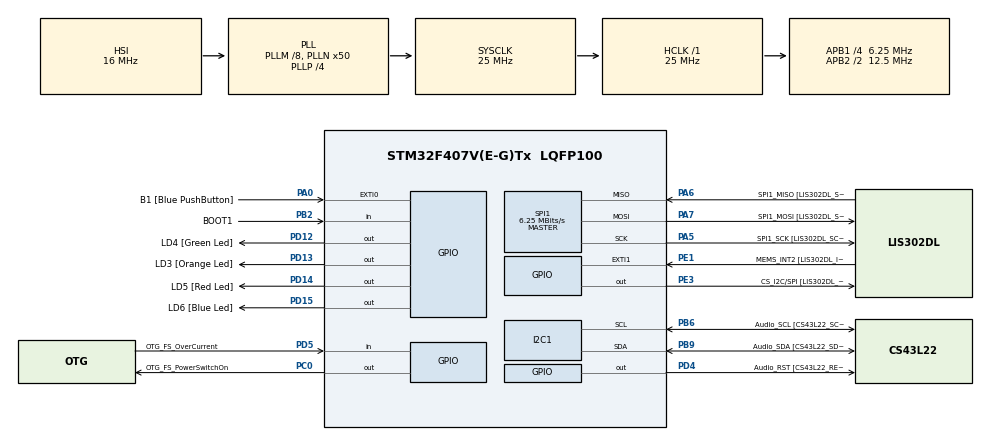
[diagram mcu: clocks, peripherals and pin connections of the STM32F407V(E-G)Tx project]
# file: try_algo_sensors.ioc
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Dma.Request0=SPI1_RX
Dma.Request1=SPI1_TX
Dma.SPI1_RX.0.Direction=DMA_PERIPH_TO_MEMORY
Dma.SPI1_RX.0.FIFOMode=DMA_FIFOMODE_DISABLE
Dma.SPI1_RX.0.Instance=DMA2_Stream0
Dma.SPI1_RX.0.MemDataAlignment=DMA_MDATAALIGN_BYTE
Dma.SPI1_RX.0.MemInc=DMA_MINC_ENABLE
Dma.SPI1_RX.0.Mode=DMA_NORMAL
Dma.SPI1_RX.0.PeriphDataAlignment=DMA_PDATAALIGN_BYTE
Dma.SPI1_RX.0.PeriphInc=DMA_PINC_DISABLE
Dma.SPI1_RX.0.Priority=DMA_PRIORITY_LOW
Dma.SPI1_TX.1.Direction=DMA_MEMORY_TO_PERIPH
Dma.SPI1_TX.1.FIFOMode=DMA_FIFOMODE_DISABLE
Dma.SPI1_TX.1.Instance=DMA2_Stream3
Dma.SPI1_TX.1.MemDataAlignment=DMA_MDATAALIGN_BYTE
Dma.SPI1_TX.1.MemInc=DMA_MINC_ENABLE
Dma.SPI1_TX.1.Mode=DMA_NORMAL
Dma.SPI1_TX.1.PeriphDataAlignment=DMA_PDATAALIGN_BYTE
Dma.SPI1_TX.1.PeriphInc=DMA_PINC_DISABLE
Dma.SPI1_TX.1.Priority=DMA_PRIORITY_LOW
Mcu.Family=STM32F4
Mcu.Name=STM32F407V(E-G)Tx
Mcu.Package=LQFP100
NVIC.DMA2_Stream0_IRQn=true\:0\:0\:false\:false\:true\:false\:true\:true
NVIC.DMA2_Stream3_IRQn=true\:0\:0\:false\:false\:true\:false\:true\:true
NVIC.PriorityGroup=NVIC_PRIORITYGROUP_0
PA0-WKUP.GPIO_Label=B1 [Blue PushButton]
PA0-WKUP.Signal=GPXTI0
PA10.GPIO_Label=OTG_FS_ID
PA10.GPIO_Mode=GPIO_MODE_AF_PP
PA10.GPIO_PuPd=GPIO_NOPULL
PA10.GPIO_Speed=GPIO_SPEED_FREQ_LOW
PA10.Signal=USB_OTG_FS_ID
PA11.GPIO_Label=OTG_FS_DM
PA11.GPIO_Mode=GPIO_MODE_AF_PP
PA11.GPIO_PuPd=GPIO_NOPULL
PA11.GPIO_Speed=GPIO_SPEED_FREQ_LOW
PA11.Signal=USB_OTG_FS_DM
PA12.GPIO_Label=OTG_FS_DP
PA12.GPIO_Mode=GPIO_MODE_AF_PP
PA12.GPIO_PuPd=GPIO_NOPULL
PA12.GPIO_Speed=GPIO_SPEED_FREQ_LOW
PA12.Signal=USB_OTG_FS_DP
PA13.GPIO_Label=SWDIO
PA13.Mode=Trace_Asynchronous_SW
PA13.Signal=SYS_JTMS-SWDIO
PA14.GPIO_Label=SWCLK
PA14.Mode=Trace_Asynchronous_SW
PA14.Signal=SYS_JTCK-SWCLK
PA4.GPIO_Label=I2S3_WS [CS43L22_LRCK]
PA4.GPIO_Mode=GPIO_MODE_AF_PP
PA4.GPIO_PuPd=GPIO_NOPULL
PA4.GPIO_Speed=GPIO_SPEED_FREQ_LOW
PA4.Signal=I2S3_WS
PA5.GPIO_Label=SPI1_SCK [LIS302DL_SCL/SPC]
PA5.GPIO_Mode=GPIO_MODE_AF_PP
PA5.GPIO_PuPd=GPIO_NOPULL
PA5.GPIO_Speed=GPIO_SPEED_FREQ_LOW
PA5.Mode=Full_Duplex_Master
PA5.Signal=SPI1_SCK
PA6.GPIO_Label=SPI1_MISO [LIS302DL_SDO]
PA6.GPIO_Mode=GPIO_MODE_AF_PP
PA6.GPIO_PuPd=GPIO_NOPULL
PA6.GPIO_Speed=GPIO_SPEED_FREQ_LOW
PA6.Mode=Full_Duplex_Master
PA6.Signal=SPI1_MISO
PA7.GPIO_Label=SPI1_MOSI [LIS302DL_SDA/SDI/SDO]
PA7.GPIO_Mode=GPIO_MODE_AF_PP
PA7.GPIO_PuPd=GPIO_NOPULL
PA7.GPIO_Speed=GPIO_SPEED_FREQ_LOW
PA7.Mode=Full_Duplex_Master
PA7.Signal=SPI1_MOSI
PA9.GPIO_Label=VBUS_FS
PA9.GPIO_Mode=GPIO_MODE_INPUT
PA9.GPIO_PuPd=GPIO_NOPULL
PA9.Signal=USB_OTG_FS_VBUS
PB10.GPIO_Label=CLK_IN [MP45DT02_CLK]
PB10.GPIO_Mode=GPIO_MODE_AF_PP
PB10.GPIO_PuPd=GPIO_NOPULL
PB10.GPIO_Speed=GPIO_SPEED_FREQ_LOW
PB10.Signal=I2S2_CK
PB2.GPIO_Label=BOOT1
PB2.GPIO_Mode=GPIO_MODE_INPUT
PB2.GPIO_PuPd=GPIO_NOPULL
PB2.Signal=GPIO_Input
PB3.GPIO_Label=SWO
PB3.Mode=Trace_Asynchronous_SW
PB3.Signal=SYS_JTDO-SWO
PB6.GPIO_Label=Audio_SCL [CS43L22_SCL]
PB6.GPIO_Mode=GPIO_MODE_AF_OD
PB6.GPIO_PuPd=GPIO_NOPULL
PB6.GPIO_Speed=GPIO_SPEED_FREQ_LOW
PB6.Mode=I2C
PB6.Signal=I2C1_SCL
PB9.GPIO_Label=Audio_SDA [CS43L22_SDA]
PB9.GPIO_Mode=GPIO_MODE_AF_OD
PB9.GPIO_PuPd=GPIO_NOPULL
PB9.GPIO_Speed=GPIO_SPEED_FREQ_LOW
PB9.Mode=I2C
PB9.Signal=I2C1_SDA
PC0.GPIO_Label=OTG_FS_PowerSwitchOn
PC0.GPIO_PuPd=GPIO_NOPULL
PC0.GPIO_Speed=GPIO_SPEED_FREQ_LOW
PC0.PinState=GPIO_PIN_SET
PC0.Signal=GPIO_Output
PC10.GPIO_Label=I2S3_SCK [CS43L22_SCLK]
PC10.GPIO_Mode=GPIO_MODE_AF_PP
PC10.GPIO_PuPd=GPIO_NOPULL
PC10.GPIO_Speed=GPIO_SPEED_FREQ_LOW
PC10.Signal=I2S3_CK
PC12.GPIO_Label=I2S3_SD [CS43L22_SDIN]
PC12.GPIO_Mode=GPIO_MODE_AF_PP
PC12.GPIO_PuPd=GPIO_NOPULL
PC12.GPIO_Speed=GPIO_SPEED_FREQ_LOW
PC12.Signal=I2S3_SD
PC14-OSC32_IN.GPIO_Label=PC14-OSC32_IN
PC14-OSC32_IN.Signal=RCC_OSC32_IN
PC15-OSC32_OUT.GPIO_Label=PC15-OSC32_OUT
PC15-OSC32_OUT.Signal=RCC_OSC32_OUT
PC3.GPIO_Label=PDM_OUT [MP45DT02_DOUT]
PC3.GPIO_Mode=GPIO_MODE_AF_PP
PC3.GPIO_PuPd=GPIO_NOPULL
PC3.GPIO_Speed=GPIO_SPEED_FREQ_LOW
PC3.Signal=I2S2_SD
PC7.GPIO_Label=I2S3_MCK [CS43L22_MCLK]
PC7.GPIO_Mode=GPIO_MODE_AF_PP
PC7.GPIO_PuPd=GPIO_NOPULL
PC7.GPIO_Speed=GPIO_SPEED_FREQ_LOW
PC7.Signal=I2S3_MCK
PD12.GPIO_Label=LD4 [Green Led]
PD12.GPIO_PuPd=GPIO_NOPULL
PD12.GPIO_Speed=GPIO_SPEED_FREQ_LOW
PD12.Signal=GPIO_Output
PD13.GPIO_Label=LD3 [Orange Led]
PD13.GPIO_PuPd=GPIO_NOPULL
PD13.GPIO_Speed=GPIO_SPEED_FREQ_LOW
PD13.Signal=GPIO_Output
PD14.GPIO_Label=LD5 [Red Led]
PD14.GPIO_PuPd=GPIO_NOPULL
PD14.GPIO_Speed=GPIO_SPEED_FREQ_LOW
PD14.Signal=GPIO_Output
PD15.GPIO_Label=LD6 [Blue Led]
PD15.GPIO_PuPd=GPIO_NOPULL
PD15.GPIO_Speed=GPIO_SPEED_FREQ_LOW
PD15.Signal=GPIO_Output
PD4.GPIO_Label=Audio_RST [CS43L22_RESET]
PD4.GPIO_PuPd=GPIO_NOPULL
PD4.GPIO_Speed=GPIO_SPEED_FREQ_LOW
PD4.Signal=GPIO_Output
PD5.GPIO_Label=OTG_FS_OverCurrent
PD5.GPIO_Mode=GPIO_MODE_INPUT
PD5.GPIO_PuPd=GPIO_NOPULL
PD5.Signal=GPIO_Input
PE1.GPIO_Label=MEMS_INT2 [LIS302DL_INT2]
PE1.GPIO_ModeDefaultEXTI=GPIO_MODE_EVT_RISING
PE1.GPIO_PuPd=GPIO_NOPULL
PE1.Signal=GPXTI1
PE3.GPIO_Label=CS_I2C/SPI [LIS302DL_CS_I2C/SPI]
PE3.GPIO_PuPd=GPIO_NOPULL
PE3.GPIO_Speed=GPIO_SPEED_FREQ_LOW
PE3.Signal=GPIO_Output
PH0-OSC_IN.GPIO_Label=PH0-OSC_IN
PH0-OSC_IN.Signal=RCC_OSC_IN
PH1-OSC_OUT.GPIO_Label=PH1-OSC_OUT
PH1-OSC_OUT.Signal=RCC_OSC_OUT
ProjectManager.HeapSize=0x200
ProjectManager.StackSize=0x400
ProjectManager.TargetToolchain=STM32CubeIDE
RCC.48MHZClocksFreq_Value=14285714.285714285
RCC.AHBFreq_Value=25000000
RCC.APB1CLKDivider=RCC_HCLK_DIV4
RCC.APB1Freq_Value=6250000
RCC.APB1TimFreq_Value=12500000
RCC.APB2CLKDivider=RCC_HCLK_DIV2
RCC.APB2Freq_Value=12500000
RCC.APB2TimFreq_Value=25000000
RCC.CortexFreq_Value=25000000
RCC.HCLKFreq_Value=25000000
RCC.HSE_VALUE=8000000
RCC.HSI_VALUE=16000000
RCC.LSE_VALUE=32768
RCC.PLLM=8
RCC.PLLN=50
RCC.PLLP=RCC_PLLP_DIV4
RCC.PLLQ=7
RCC.SYSCLKFreq_VALUE=25000000
RCC.SYSCLKSource=RCC_SYSCLKSOURCE_PLLCLK
RCC.VCOOutputFreq_Value=100000000
SPI1.BaudRatePrescaler=SPI_BAUDRATEPRESCALER_2
SPI1.CLKPolarity=SPI_POLARITY_LOW
SPI1.CalculateBaudRate=6.25 MBits/s
SPI1.Direction=SPI_DIRECTION_2LINES
SPI1.Mode=SPI_MODE_MASTER
SPI1.VirtualType=VM_MASTER
board=STM32F407G-DISC1

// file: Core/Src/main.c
/* USER CODE BEGIN Header */
/**
  ******************************************************************************
  * @file           : main.c
  * @brief          : Main program body
  ******************************************************************************
  * @attention
  *
  * Copyright (c) 2026 STMicroelectronics.
  * All rights reserved.
  *
  * This software is licensed under terms that can be found in the LICENSE file
  * in the root directory of this software component.
  * If no LICENSE file comes with this software, it is provided AS-IS.
  *
  ******************************************************************************
  */
/* USER CODE END Header */
#include "main.h"

/* USER CODE BEGIN Includes */
#include "BME280.h"
#include "math.h"
#include "kalman.h"
#include "bno055_func_struct.h"
/* USER CODE END Includes */

I2C_HandleTypeDef hi2c1;

SPI_HandleTypeDef hspi1;
DMA_HandleTypeDef hdma_spi1_rx;
DMA_HandleTypeDef hdma_spi1_tx;

/* USER CODE BEGIN PV */
BME_Data_t bme_data;
volatile float		height;
volatile float filtered_altitude;
volatile BNO055_AccelData_t accel;
volatile BNO055_GyroData_t gyro;
volatile BNO055_EulerData_t euler;

/* USER CODE END PV */

void SystemClock_Config(void);
static void MX_GPIO_Init(void);
static void MX_DMA_Init(void);
static void MX_SPI1_Init(void);
static void MX_I2C1_Init(void);

/* USER CODE BEGIN 0 */
BNO055Init_TypeDef_t BNO = {
         // --- HABERLEŞME (I2C) ---
         .i2cHandler = &hi2c1,             // Hangi I2C hattını kullanıyorsan
         .i2cAddress = (0x28 << 1),        // DİKKAT: STM32 HAL kütüphanesi adresi 1 bit sola kaydırılmış ister! (0x28 veya 0x29)
         .i2cTimeout = 100,
         .delayCallback = HAL_Delay,       // Senin init fonksiyonundaki BNO_Delay için standart STM32 gecikmesi

         // --- GÜÇ VE ÇALIŞMA MODLARI ---
         .powerMode = BNO_PWR_MODE_NORMAL,

         // KENDİ FÜZYONUMUZU YAPACAĞIMIZ İÇİN ÇOK KRİTİK:
         // Sadece İvme ve Gyro verisi üreten, Bosch füzyonunun kapalı olduğu mod (ACCGYRO veya AMG modu)
         .operationMode = BNO_MODE_ACCGYRO,

         .externalCrystal = BNO_CLK_EXTERNAL, // Füzyon stabilitesi için dış kristal şart (Modülünde kristal varsa)

         // --- EKSEN YÖNLENDİRMESİ (Roket/Kart Dik mi Yatay mı?) ---
         .axisRemap = BNO_AXIS_REMAP_P1,        // P1 genelde standart yatay yerleşimdir. Kartın duruşuna göre P0-P7 arası seçilir.

         // --- BİRİM SEÇİMLERİ (Kalman/Madgwick matematiği ile uyumlu olmalı) ---
         .accelUnit =  BNO_ACC_UNIT_MS2 ,       // İvme: Metre/saniye kare (SI birimi)
         .gyroUnit  = BNO_GYRO_UNIT_RPS  ,     // Cayro: Radyan/Saniye (Madgwick trigonometri hesaplarında radyan sever!)
         .eulerUnit = BNO_EULER_UNIT_DEG,       // Euler: Derece (Ekrana basıp okumak kolay olsun diye)
         .tempUnit  = BNO_TEMP_UNIT_C,          // Sıcaklık: Santigrat

         // --- KALİBRASYON ---
         .useStoredCalibration = 0,        // Şimdilik 0. Uçuş öncesi kalibre edip 1 yapacağız.
         // .calibrationData = bno_calib_array  // (Struct'ında array doğrudan tanımlıysa bu satıra gerek yok)
     };
/* USER CODE END 0 */

int main(void)
{

  /* MCU Configuration--------------------------------------------------------*/

  /* Reset of all peripherals, Initializes the Flash interface and the Systick. */
  HAL_Init();

  /* Configure the system clock */
  SystemClock_Config();

  /* Initialize all configured peripherals */
  MX_GPIO_Init();
  MX_DMA_Init();
  MX_SPI1_Init();
  MX_I2C1_Init();
  /* USER CODE BEGIN 2 */
  BME_Init_Typedef_t BME = {
      .spihandler  = &hspi1,      // Hangi SPI hattını kullanıyorsan onun adresini ver
      .BME_Delay   = HAL_Delay,   // STM32'nin standart milisaniye bekleme fonksiyonu

      .hum_osr     = OSR_1,        // Nem x1 (1 çarpanlı)
      .tmp_osr     = OSR_2,        // Sıcaklık x2
      .press_osr   = OSR_16,        // Basınç x16 (En yüksek hassasiyet)

      // Config Ayarları
      .coefficient = SIXTEEN,        // IIR Filtre Katsayısı 16 (Rüzgar/kapı çarpması gibi ani basınçları filtreler)
      .st_duration = mszeropointfive
  };
// Standby Süresi 0.5 ms (Ölçümler arası bekleme)

  HAL_StatusTypeDef status;
  status = InitBME_SPI(&BME);

  // 1. ZEMİN BASINCINI HESAPLA (Kalibrasyon)
    float ground_pressure = 0.0f;
    for(int i = 0; i < 50; i++) {
        bme_data = BME_DataRead(&BME);
        ground_pressure += bme_data.pressure;
        HAL_Delay(20);
    }
    ground_pressure /= 50.0f;
    Kalman1D_t alt_kf;
    // Başlangıç irtifası: 0, Hata P: 1.0, Q: 0.02 (Model güveni), R: 2.0 (Sensör gürültüsü)
    Kalman1D_Init(&alt_kf, 0.0f, 1.0f, 0.02f, 2.0f);

    /* USER CODE BEGIN 2 */

      // BNO055 Kalibrasyon verisi (Şimdilik boş, laboratuvarda kalibre edip buraya gireceğiz)
      uint8_t bno_calib_array[22] = {0};

      // Sistemi Başlat
      BNO_Status_t bno_status = BNO055_Init(&BNO);

      if (bno_status != BNO_OK) {
          // Sensör başlatılamadı, LED yak veya sistemi güvenli moda al
          Error_Handler();
      }

  /* USER CODE END 2 */

  /* Infinite loop */
  /* USER CODE BEGIN WHILE */
  while (1)
  {

	 bme_data = BME_DataRead(&BME);
	 height = (float)(44330.0f * (1.0f - powf((bme_data.pressure / ground_pressure), 0.1903f)));
	 filtered_altitude = Kalman1D_Update(&alt_kf, height);

	 BNO055_ReadAccel(&BNO , &accel);
	 BNO055_ReadGyro(&BNO , &gyro);

    /* USER CODE END WHILE */

  }
}

void SystemClock_Config(void)
{
  RCC_OscInitTypeDef RCC_OscInitStruct = {0};
  RCC_ClkInitTypeDef RCC_ClkInitStruct = {0};

  /** Configure the main internal regulator output voltage
  */
  __HAL_RCC_PWR_CLK_ENABLE();
  __HAL_PWR_VOLTAGESCALING_CONFIG(PWR_REGULATOR_VOLTAGE_SCALE1);

  /** Initializes the RCC Oscillators according to the specified parameters
  * in the RCC_OscInitTypeDef structure.
  */
  RCC_OscInitStruct.OscillatorType = RCC_OSCILLATORTYPE_HSI;
  RCC_OscInitStruct.HSIState = RCC_HSI_ON;
  RCC_OscInitStruct.HSICalibrationValue = RCC_HSICALIBRATION_DEFAULT;
  RCC_OscInitStruct.PLL.PLLState = RCC_PLL_ON;
  RCC_OscInitStruct.PLL.PLLSource = RCC_PLLSOURCE_HSI;
  RCC_OscInitStruct.PLL.PLLM = 8;
  RCC_OscInitStruct.PLL.PLLN = 50;
  RCC_OscInitStruct.PLL.PLLP = RCC_PLLP_DIV4;
  RCC_OscInitStruct.PLL.PLLQ = 7;
  if (HAL_RCC_OscConfig(&RCC_OscInitStruct) != HAL_OK)
  {
    Error_Handler();
  }

  /** Initializes the CPU, AHB and APB buses clocks
  */
  RCC_ClkInitStruct.ClockType = RCC_CLOCKTYPE_HCLK|RCC_CLOCKTYPE_SYSCLK
                              |RCC_CLOCKTYPE_PCLK1|RCC_CLOCKTYPE_PCLK2;
  RCC_ClkInitStruct.SYSCLKSource = RCC_SYSCLKSOURCE_PLLCLK;
  RCC_ClkInitStruct.AHBCLKDivider = RCC_SYSCLK_DIV1;
  RCC_ClkInitStruct.APB1CLKDivider = RCC_HCLK_DIV4;
  RCC_ClkInitStruct.APB2CLKDivider = RCC_HCLK_DIV2;

  if (HAL_RCC_ClockConfig(&RCC_ClkInitStruct, FLASH_LATENCY_0) != HAL_OK)
  {
    Error_Handler();
  }
}

static void MX_I2C1_Init(void)
{

  hi2c1.Instance = I2C1;
  hi2c1.Init.ClockSpeed = 100000;
  hi2c1.Init.DutyCycle = I2C_DUTYCYCLE_2;
  hi2c1.Init.OwnAddress1 = 0;
  hi2c1.Init.AddressingMode = I2C_ADDRESSINGMODE_7BIT;
  hi2c1.Init.DualAddressMode = I2C_DUALADDRESS_DISABLE;
  hi2c1.Init.OwnAddress2 = 0;
  hi2c1.Init.GeneralCallMode = I2C_GENERALCALL_DISABLE;
  hi2c1.Init.NoStretchMode = I2C_NOSTRETCH_DISABLE;
  if (HAL_I2C_Init(&hi2c1) != HAL_OK)
  {
    Error_Handler();
  }

}

static void MX_SPI1_Init(void)
{

  /* SPI1 parameter configuration*/
  hspi1.Instance = SPI1;
  hspi1.Init.Mode = SPI_MODE_MASTER;
  hspi1.Init.Direction = SPI_DIRECTION_2LINES;
  hspi1.Init.DataSize = SPI_DATASIZE_8BIT;
  hspi1.Init.CLKPolarity = SPI_POLARITY_LOW;
  hspi1.Init.CLKPhase = SPI_PHASE_1EDGE;
  hspi1.Init.NSS = SPI_NSS_SOFT;
  hspi1.Init.BaudRatePrescaler = SPI_BAUDRATEPRESCALER_2;
  hspi1.Init.FirstBit = SPI_FIRSTBIT_MSB;
  hspi1.Init.TIMode = SPI_TIMODE_DISABLE;
  hspi1.Init.CRCCalculation = SPI_CRCCALCULATION_DISABLE;
  hspi1.Init.CRCPolynomial = 10;
  if (HAL_SPI_Init(&hspi1) != HAL_OK)
  {
    Error_Handler();
  }

}

static void MX_DMA_Init(void)
{

  /* DMA controller clock enable */
  __HAL_RCC_DMA2_CLK_ENABLE();

  /* DMA interrupt init */
  /* DMA2_Stream0_IRQn interrupt configuration */
  HAL_NVIC_SetPriority(DMA2_Stream0_IRQn, 0, 0);
  HAL_NVIC_EnableIRQ(DMA2_Stream0_IRQn);
  /* DMA2_Stream3_IRQn interrupt configuration */
  HAL_NVIC_SetPriority(DMA2_Stream3_IRQn, 0, 0);
  HAL_NVIC_EnableIRQ(DMA2_Stream3_IRQn);

}

static void MX_GPIO_Init(void)
{
  GPIO_InitTypeDef GPIO_InitStruct = {0};

  /* GPIO Ports Clock Enable */
  __HAL_RCC_GPIOE_CLK_ENABLE();
  __HAL_RCC_GPIOC_CLK_ENABLE();
  __HAL_RCC_GPIOH_CLK_ENABLE();
  __HAL_RCC_GPIOA_CLK_ENABLE();
  __HAL_RCC_GPIOB_CLK_ENABLE();
  __HAL_RCC_GPIOD_CLK_ENABLE();

  /*Configure GPIO pin Output Level */
  HAL_GPIO_WritePin(CS_I2C_SPI_GPIO_Port, CS_I2C_SPI_Pin, GPIO_PIN_RESET);

  /*Configure GPIO pin Output Level */
  HAL_GPIO_WritePin(OTG_FS_PowerSwitchOn_GPIO_Port, OTG_FS_PowerSwitchOn_Pin, GPIO_PIN_SET);

  /*Configure GPIO pin Output Level */
  HAL_GPIO_WritePin(GPIOD, LD4_Pin|LD3_Pin|LD5_Pin|LD6_Pin
                          |Audio_RST_Pin, GPIO_PIN_RESET);

  /*Configure GPIO pin : CS_I2C_SPI_Pin */
  GPIO_InitStruct.Pin = CS_I2C_SPI_Pin;
  GPIO_InitStruct.Mode = GPIO_MODE_OUTPUT_PP;
  GPIO_InitStruct.Pull = GPIO_NOPULL;
  GPIO_InitStruct.Speed = GPIO_SPEED_FREQ_LOW;
  HAL_GPIO_Init(CS_I2C_SPI_GPIO_Port, &GPIO_InitStruct);

  /*Configure GPIO pin : OTG_FS_PowerSwitchOn_Pin */
  GPIO_InitStruct.Pin = OTG_FS_PowerSwitchOn_Pin;
  GPIO_InitStruct.Mode = GPIO_MODE_OUTPUT_PP;
  GPIO_InitStruct.Pull = GPIO_NOPULL;
  GPIO_InitStruct.Speed = GPIO_SPEED_FREQ_LOW;
  HAL_GPIO_Init(OTG_FS_PowerSwitchOn_GPIO_Port, &GPIO_InitStruct);

  /*Configure GPIO pin : PDM_OUT_Pin */
  GPIO_InitStruct.Pin = PDM_OUT_Pin;
  GPIO_InitStruct.Mode = GPIO_MODE_AF_PP;
  GPIO_InitStruct.Pull = GPIO_NOPULL;
  GPIO_InitStruct.Speed = GPIO_SPEED_FREQ_LOW;
  GPIO_InitStruct.Alternate = GPIO_AF5_SPI2;
  HAL_GPIO_Init(PDM_OUT_GPIO_Port, &GPIO_InitStruct);

  /*Configure GPIO pin : B1_Pin */
  GPIO_InitStruct.Pin = B1_Pin;
  GPIO_InitStruct.Mode = GPIO_MODE_IT_RISING;
  GPIO_InitStruct.Pull = GPIO_NOPULL;
  HAL_GPIO_Init(B1_GPIO_Port, &GPIO_InitStruct);

  /*Configure GPIO pin : I2S3_WS_Pin */
  GPIO_InitStruct.Pin = I2S3_WS_Pin;
  GPIO_InitStruct.Mode = GPIO_MODE_AF_PP;
  GPIO_InitStruct.Pull = GPIO_NOPULL;
  GPIO_InitStruct.Speed = GPIO_SPEED_FREQ_LOW;
  GPIO_InitStruct.Alternate = GPIO_AF6_SPI3;
  HAL_GPIO_Init(I2S3_WS_GPIO_Port, &GPIO_InitStruct);

  /*Configure GPIO pin : BOOT1_Pin */
  GPIO_InitStruct.Pin = BOOT1_Pin;
  GPIO_InitStruct.Mode = GPIO_MODE_INPUT;
  GPIO_InitStruct.Pull = GPIO_NOPULL;
  HAL_GPIO_Init(BOOT1_GPIO_Port, &GPIO_InitStruct);

  /*Configure GPIO pin : CLK_IN_Pin */
  GPIO_InitStruct.Pin = CLK_IN_Pin;
  GPIO_InitStruct.Mode = GPIO_MODE_AF_PP;
  GPIO_InitStruct.Pull = GPIO_NOPULL;
  GPIO_InitStruct.Speed = GPIO_SPEED_FREQ_LOW;
  GPIO_InitStruct.Alternate = GPIO_AF5_SPI2;
  HAL_GPIO_Init(CLK_IN_GPIO_Port, &GPIO_InitStruct);

  /*Configure GPIO pins : LD4_Pin LD3_Pin LD5_Pin LD6_Pin
                           Audio_RST_Pin */
  GPIO_InitStruct.Pin = LD4_Pin|LD3_Pin|LD5_Pin|LD6_Pin
                          |Audio_RST_Pin;
  GPIO_InitStruct.Mode = GPIO_MODE_OUTPUT_PP;
  GPIO_InitStruct.Pull = GPIO_NOPULL;
  GPIO_InitStruct.Speed = GPIO_SPEED_FREQ_LOW;
  HAL_GPIO_Init(GPIOD, &GPIO_InitStruct);

  /*Configure GPIO pins : I2S3_MCK_Pin I2S3_SCK_Pin I2S3_SD_Pin */
  GPIO_InitStruct.Pin = I2S3_MCK_Pin|I2S3_SCK_Pin|I2S3_SD_Pin;
  GPIO_InitStruct.Mode = GPIO_MODE_AF_PP;
  GPIO_InitStruct.Pull = GPIO_NOPULL;
  GPIO_InitStruct.Speed = GPIO_SPEED_FREQ_LOW;
  GPIO_InitStruct.Alternate = GPIO_AF6_SPI3;
  HAL_GPIO_Init(GPIOC, &GPIO_InitStruct);

  /*Configure GPIO pin : VBUS_FS_Pin */
  GPIO_InitStruct.Pin = VBUS_FS_Pin;
  GPIO_InitStruct.Mode = GPIO_MODE_INPUT;
  GPIO_InitStruct.Pull = GPIO_NOPULL;
  HAL_GPIO_Init(VBUS_FS_GPIO_Port, &GPIO_InitStruct);

  /*Configure GPIO pins : OTG_FS_ID_Pin OTG_FS_DM_Pin OTG_FS_DP_Pin */
  GPIO_InitStruct.Pin = OTG_FS_ID_Pin|OTG_FS_DM_Pin|OTG_FS_DP_Pin;
  GPIO_InitStruct.Mode = GPIO_MODE_AF_PP;
  GPIO_InitStruct.Pull = GPIO_NOPULL;
  GPIO_InitStruct.Speed = GPIO_SPEED_FREQ_LOW;
  GPIO_InitStruct.Alternate = GPIO_AF10_OTG_FS;
  HAL_GPIO_Init(GPIOA, &GPIO_InitStruct);

  /*Configure GPIO pin : OTG_FS_OverCurrent_Pin */
  GPIO_InitStruct.Pin = OTG_FS_OverCurrent_Pin;
  GPIO_InitStruct.Mode = GPIO_MODE_INPUT;
  GPIO_InitStruct.Pull = GPIO_NOPULL;
  HAL_GPIO_Init(OTG_FS_OverCurrent_GPIO_Port, &GPIO_InitStruct);

  /*Configure GPIO pin : MEMS_INT2_Pin */
  GPIO_InitStruct.Pin = MEMS_INT2_Pin;
  GPIO_InitStruct.Mode = GPIO_MODE_EVT_RISING;
  GPIO_InitStruct.Pull = GPIO_NOPULL;
  HAL_GPIO_Init(MEMS_INT2_GPIO_Port, &GPIO_InitStruct);

}

void Error_Handler(void)
{
  __disable_irq();
  while (1)
  {
  }
}
